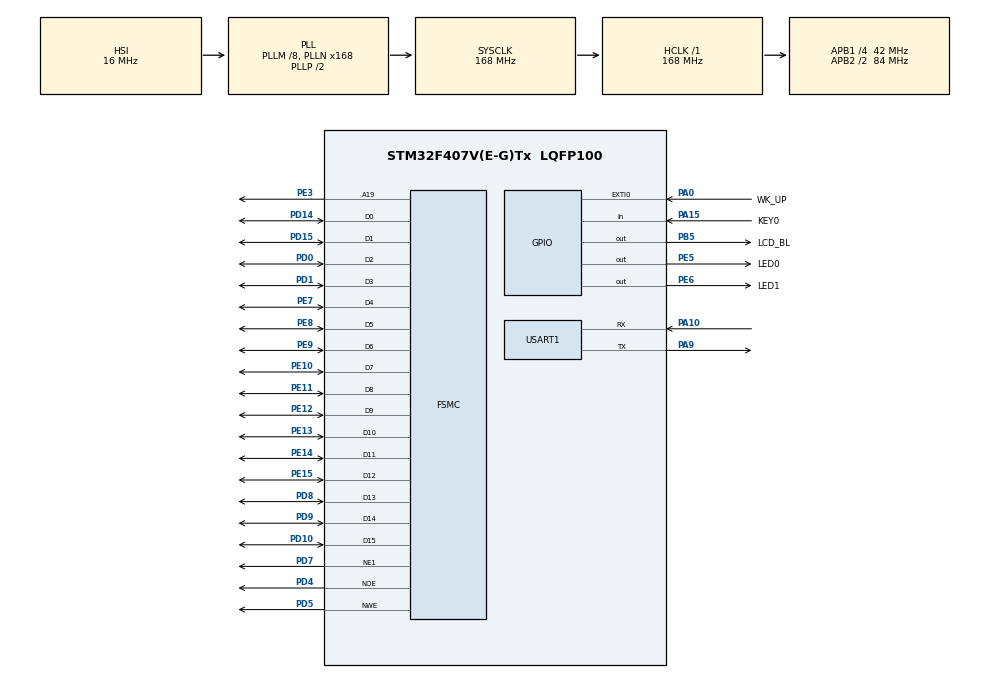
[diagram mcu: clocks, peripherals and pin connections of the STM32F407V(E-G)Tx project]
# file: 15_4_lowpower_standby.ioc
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FSMC.AddressSetupTime1=15
FSMC.BusTurnAroundDuration1=0
FSMC.DataSetupTime1=60
FSMC.ExtendedAddressSetupTime1=9
FSMC.ExtendedDataSetupTime1=9
FSMC.ExtendedMode1=FSMC_EXTENDED_MODE_ENABLE
Mcu.Family=STM32F4
Mcu.Name=STM32F407V(E-G)Tx
Mcu.Package=LQFP100
NVIC.EXTI0_IRQn=true\:2\:2\:true\:false\:true\:true\:true\:true
NVIC.PriorityGroup=NVIC_PRIORITYGROUP_2
NVIC.USART1_IRQn=true\:2\:2\:true\:false\:true\:true\:true\:true
PA0-WKUP.GPIO_Label=WK_UP
PA0-WKUP.GPIO_PuPd=GPIO_PULLDOWN
PA0-WKUP.Signal=GPXTI0
PA10.Mode=Asynchronous
PA10.Signal=USART1_RX
PA13.Mode=Serial_Wire
PA13.Signal=SYS_JTMS-SWDIO
PA14.Mode=Serial_Wire
PA14.Signal=SYS_JTCK-SWCLK
PA15.GPIO_Label=KEY0
PA15.GPIO_PuPd=GPIO_PULLDOWN
PA15.Signal=GPIO_Input
PA9.Mode=Asynchronous
PA9.Signal=USART1_TX
PB5.GPIO_Label=LCD_BL
PB5.GPIO_PuPd=GPIO_PULLUP
PB5.GPIO_Speed=GPIO_SPEED_FREQ_HIGH
PB5.PinState=GPIO_PIN_SET
PB5.Signal=GPIO_Output
PC14-OSC32_IN.Mode=LSE-External-Oscillator
PC14-OSC32_IN.Signal=RCC_OSC32_IN
PC15-OSC32_OUT.Mode=LSE-External-Oscillator
PC15-OSC32_OUT.Signal=RCC_OSC32_OUT
PD0.Mode=16b-d1
PD0.Signal=FSMC_D2
PD1.Mode=16b-d1
PD1.Signal=FSMC_D3
PD10.Mode=16b-d1
PD10.Signal=FSMC_D15
PD14.Mode=16b-d1
PD14.Signal=FSMC_D0
PD15.Mode=16b-d1
PD15.Signal=FSMC_D1
PD4.Mode=Lcd1
PD4.Signal=FSMC_NOE
PD5.Mode=Lcd1
PD5.Signal=FSMC_NWE
PD7.Mode=NorPsramChipSelect1_1
PD7.Signal=FSMC_NE1
PD8.Mode=16b-d1
PD8.Signal=FSMC_D13
PD9.Mode=16b-d1
PD9.Signal=FSMC_D14
PE10.Mode=16b-d1
PE10.Signal=FSMC_D7
PE11.Mode=16b-d1
PE11.Signal=FSMC_D8
PE12.Mode=16b-d1
PE12.Signal=FSMC_D9
PE13.Mode=16b-d1
PE13.Signal=FSMC_D10
PE14.Mode=16b-d1
PE14.Signal=FSMC_D11
PE15.Mode=16b-d1
PE15.Signal=FSMC_D12
PE3.Mode=A19_1
PE3.Signal=FSMC_A19
PE5.GPIO_Label=LED0
PE5.GPIO_PuPd=GPIO_PULLUP
PE5.GPIO_Speed=GPIO_SPEED_FREQ_HIGH
PE5.PinState=GPIO_PIN_SET
PE5.Signal=GPIO_Output
PE6.GPIO_Label=LED1
PE6.GPIO_PuPd=GPIO_PULLUP
PE6.GPIO_Speed=GPIO_SPEED_FREQ_HIGH
PE6.PinState=GPIO_PIN_SET
PE6.Signal=GPIO_Output
PE7.Mode=16b-d1
PE7.Signal=FSMC_D4
PE8.Mode=16b-d1
PE8.Signal=FSMC_D5
PE9.Mode=16b-d1
PE9.Signal=FSMC_D6
PH0-OSC_IN.Mode=HSE-External-Oscillator
PH0-OSC_IN.Signal=RCC_OSC_IN
PH1-OSC_OUT.Mode=HSE-External-Oscillator
PH1-OSC_OUT.Signal=RCC_OSC_OUT
ProjectManager.HeapSize=0x200
ProjectManager.StackSize=0x400
ProjectManager.TargetToolchain=STM32CubeIDE
RCC.48MHZClocksFreq_Value=84000000
RCC.AHBFreq_Value=168000000
RCC.APB1CLKDivider=RCC_HCLK_DIV4
RCC.APB1Freq_Value=42000000
RCC.APB1TimFreq_Value=84000000
RCC.APB2CLKDivider=RCC_HCLK_DIV2
RCC.APB2Freq_Value=84000000
RCC.APB2TimFreq_Value=168000000
RCC.CortexFreq_Value=168000000
RCC.HCLKFreq_Value=168000000
RCC.HSE_VALUE=25000000
RCC.HSI_VALUE=16000000
RCC.PLLM=8
RCC.PLLN=168
RCC.SYSCLKFreq_VALUE=168000000
RCC.SYSCLKSource=RCC_SYSCLKSOURCE_PLLCLK
RCC.VCOOutputFreq_Value=336000000
USART1.VirtualMode=VM_ASYNC
board=custom

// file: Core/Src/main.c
/**
 ****************************************************************************************************
 * @file        main.c
 * @author      ALIENTEK
 * @brief       lowpower_standby code
 * @license     Copyright (C) 2012-2024, ALIENTEK
 ****************************************************************************************************
 * @attention
 *
 * platform     : ALIENTEK M100-STM32F407 board
 * website      : www.alientek.com
 * forum        : www.openedv.com/forum.php
 *
 * change logs  :
 * version      data         notes
 * V1.0         20240409     the first version
 *
 ****************************************************************************************************
 */

 /* USER CODE BEGIN Header */

/* USER CODE END Header */
#include "main.h"
#include "usart.h"
#include "gpio.h"
#include "fsmc.h"

/* USER CODE BEGIN Includes */
#include "../../BSP/LED/led.h"
#include "../../BSP/KEY/key.h"
#include "../../BSP/LCD/lcd.h"
#include "../../BSP/PWR/pwr.h"
/* USER CODE END Includes */

/* USER CODE BEGIN PD */
/**
 * @brief   Displays information about the experiment
 * @param   None
 * @retval  None
 */
void stm32f407vg_show_mesg(void)
{
	/* The serial port outputs the experimental information */
	printf("\n");
	printf("********************************\r\n");
	printf("STM32F407\r\n");
	printf("Lowpower-Standby Test\r\n");
	printf("ATOM@ALIENTEK\r\n");
	printf("********************************\r\n");
	printf("\r\n");
}
/* USER CODE END PD */

void SystemClock_Config(void);

int main(void)
{
  /* USER CODE BEGIN 1 */
  uint8_t t = 0;
  uint8_t key = 0;
  /* USER CODE END 1 */

  /* MCU Configuration--------------------------------------------------------*/

  /* Reset of all peripherals, Initializes the Flash interface and the Systick. */
  HAL_Init();

  /* Configure the system clock */
  SystemClock_Config();

  /* Initialize all configured peripherals */
  MX_GPIO_Init();
  MX_USART1_UART_Init();
  MX_FSMC_Init();
  /* USER CODE BEGIN 2 */
  lcd_init();                                         /* Initialize LCD */
  stm32f407vg_show_mesg();
  lcd_show_string(30, 50, 200, 16, 16, "STM32", RED);
  lcd_show_string(30, 70, 200, 16, 16, "Standby mode TEST", RED);
  lcd_show_string(30, 90, 200, 16, 16, "ATOM@ALIENTEK", RED);

  lcd_show_string(30, 110, 200, 16, 16, "KEY0:Enter STANDBY MODE", RED);
  lcd_show_string(30, 130, 200, 16, 16, "WK_UP:Exit STANDBY MODE", RED);
  /* USER CODE END 2 */

  /* Infinite loop */
  /* USER CODE BEGIN WHILE */
  while (1)
  {
	  key = key_scan(0);

	  if (key == KEY0_PRES)
	  {
		  pwr_enter_standby(); /* Enter standby mode */
	  }
	  if ((t % 20) == 0)
	  {
	  	  LED0_TOGGLE();   /* flashing LED0 indicates that the system is running */
	  }

	  t++;
	  HAL_Delay(10);   	   /* delay 10ms */
    /* USER CODE END WHILE */

  }
}

void SystemClock_Config(void)
{
  RCC_OscInitTypeDef RCC_OscInitStruct = {0};
  RCC_ClkInitTypeDef RCC_ClkInitStruct = {0};

  /** Configure the main internal regulator output voltage
  */
  __HAL_RCC_PWR_CLK_ENABLE();
  __HAL_PWR_VOLTAGESCALING_CONFIG(PWR_REGULATOR_VOLTAGE_SCALE1);

  /** Initializes the RCC Oscillators according to the specified parameters
  * in the RCC_OscInitTypeDef structure.
  */
  RCC_OscInitStruct.OscillatorType = RCC_OSCILLATORTYPE_HSI;
  RCC_OscInitStruct.HSIState = RCC_HSI_ON;
  RCC_OscInitStruct.HSICalibrationValue = RCC_HSICALIBRATION_DEFAULT;
  RCC_OscInitStruct.PLL.PLLState = RCC_PLL_ON;
  RCC_OscInitStruct.PLL.PLLSource = RCC_PLLSOURCE_HSI;
  RCC_OscInitStruct.PLL.PLLM = 8;
  RCC_OscInitStruct.PLL.PLLN = 168;
  RCC_OscInitStruct.PLL.PLLP = RCC_PLLP_DIV2;
  RCC_OscInitStruct.PLL.PLLQ = 4;
  if (HAL_RCC_OscConfig(&RCC_OscInitStruct) != HAL_OK)
  {
    Error_Handler();
  }

  /** Initializes the CPU, AHB and APB buses clocks
  */
  RCC_ClkInitStruct.ClockType = RCC_CLOCKTYPE_HCLK|RCC_CLOCKTYPE_SYSCLK
                              |RCC_CLOCKTYPE_PCLK1|RCC_CLOCKTYPE_PCLK2;
  RCC_ClkInitStruct.SYSCLKSource = RCC_SYSCLKSOURCE_PLLCLK;
  RCC_ClkInitStruct.AHBCLKDivider = RCC_SYSCLK_DIV1;
  RCC_ClkInitStruct.APB1CLKDivider = RCC_HCLK_DIV4;
  RCC_ClkInitStruct.APB2CLKDivider = RCC_HCLK_DIV2;

  if (HAL_RCC_ClockConfig(&RCC_ClkInitStruct, FLASH_LATENCY_5) != HAL_OK)
  {
    Error_Handler();
  }
}

void Error_Handler(void)
{
  __disable_irq();
  while (1)
  {
  }
}
